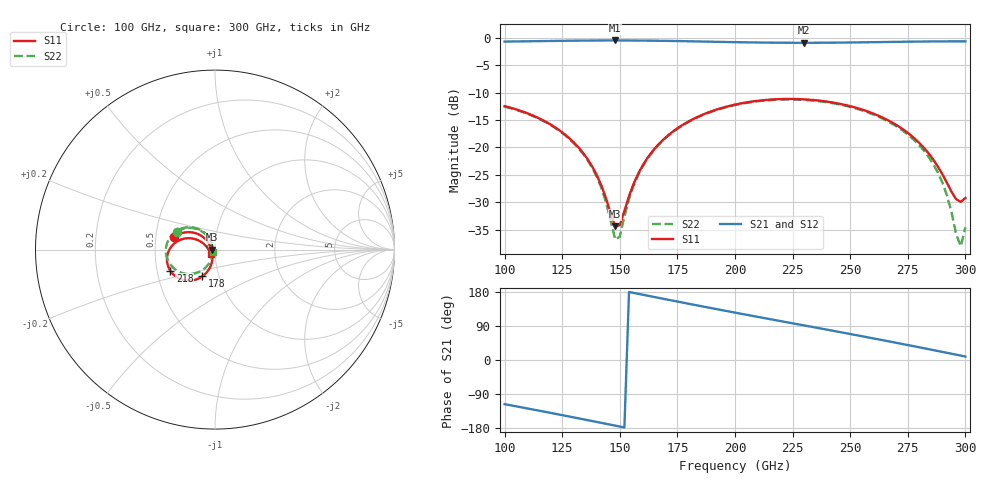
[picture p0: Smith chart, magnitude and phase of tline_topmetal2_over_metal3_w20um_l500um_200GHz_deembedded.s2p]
! Created with skrf 2.0.1 (http://scikit-rf.org).
# GHz S DB R 50.0
!freq dBS11 angS11 dBS21 angS21 dBS12 angS12 dBS22 angS22
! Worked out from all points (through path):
!   101 points, 100 GHz to 300 GHz, reference 50 ohm
!   highest |S21| = -0.47 dB at 148 GHz (marker M1); lowest = -0.9 dB at 230 GHz (marker M2)
!   group delay of S21, straight-line fit = 3.24 ps
!   lowest |S11| = -34.4 dB at 148 GHz (marker M3), VSWR 1.04, Z = 48.1 + j0.0149 ohm
!   |S11| at or under -10 dB: start of sweep to end of sweep
!   |S22| runs from -38.0 to -11.2 dB; largest |S21 - S12| = 1.1e-14
!   S11 on the Smith chart (normalised r, x): 100 GHz: 0.62, +0.09; 178 GHz: 0.83, -0.25; 218 GHz: 0.59, -0.15; 300 GHz: 0.95, -0.05
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100  -12.47 163.5  -0.67 -116.5  -0.67 -116.5  -12.54 155.1
120  -15.82 143.5  -0.56 -139.6  -0.56 -139.6  -15.92 133.0
134  -20.97 133.1  -0.49 -156.3  -0.49 -156.3  -21.14 120.1
142  -26.94 136.1  -0.47 -165.9  -0.47 -165.9  -27.38 119.9
148  -34.42 179.5  -0.47 -173.2  -0.47 -173.2  -36.81 164.3
150  -34.17 -146.4  -0.47 -175.6  -0.47 -175.6  -36.29 -151.0
154  -28.89 -112.2  -0.47 179.5  -0.47 179.5  -29.42 -117.2
158  -24.78 -104.7  -0.48 174.7  -0.48 174.7  -25.00 -112.4
168  -18.92 -106.9  -0.53 162.6  -0.53 162.6  -19.02 -117.6
178  -15.70 -115.1  -0.60 150.7  -0.60 150.7  -15.78 -127.5
200  -12.18 -136.7  -0.78 125.1  -0.78 125.1  -12.26 -151.8
218  -11.20 -154.6  -0.87 104.7  -0.87 104.7  -11.30 -171.8
230  -11.22 -166.5  -0.89 91.2  -0.89 91.2  -11.33 174.9
234  -11.34 -170.4  -0.89 86.7  -0.89 86.7  -11.45 170.5
252  -12.69 172.3  -0.83 66.3  -0.83 66.3  -12.83 150.5
268  -15.40 158.2  -0.73 47.7  -0.73 47.7  -15.62 133.0
278  -18.39 151.8  -0.68 35.8  -0.68 35.8  -18.76 122.9
286  -22.19 151.8  -0.65 26.2  -0.65 26.2  -23.00 117.1
292  -26.47 163.0  -0.63 18.9  -0.63 18.9  -28.76 119.6
296  -29.46 -172.5  -0.63 14.1  -0.63 14.1  -35.87 145.3
298  -29.94 -153.5  -0.63 11.6  -0.63 11.6  -38.02 -169.1
300  -29.23 -135.1  -0.63 9.2  -0.63 9.2  -34.57 -131.8
